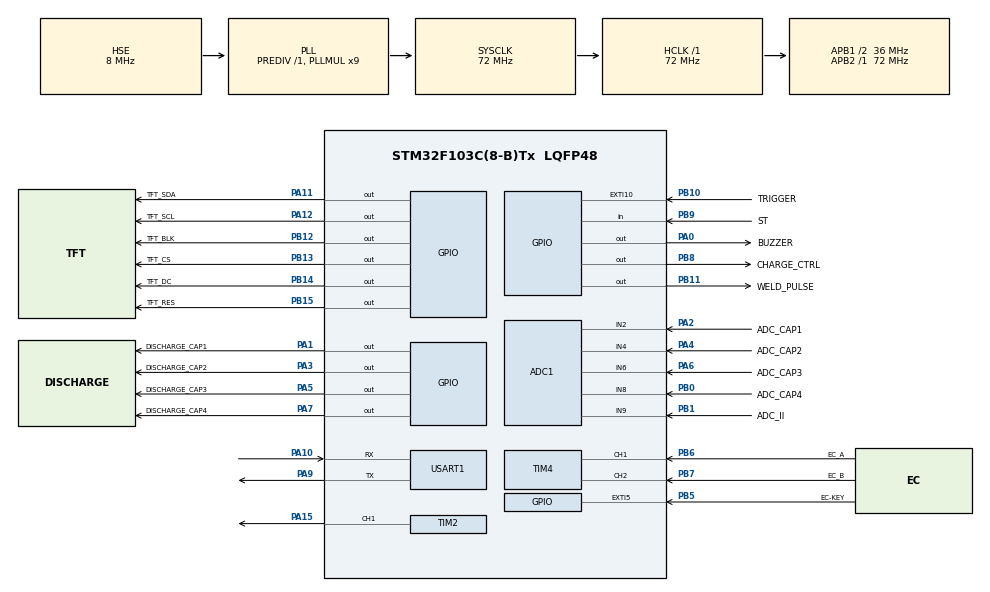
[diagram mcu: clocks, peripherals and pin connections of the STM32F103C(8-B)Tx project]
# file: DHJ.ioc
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ADC1.Channel-5\#ChannelRegularConversion=ADC_CHANNEL_2
ADC1.Channel-6\#ChannelRegularConversion=ADC_CHANNEL_4
ADC1.Channel-7\#ChannelRegularConversion=ADC_CHANNEL_6
ADC1.Channel-8\#ChannelRegularConversion=ADC_CHANNEL_8
ADC1.Channel-9\#ChannelRegularConversion=ADC_CHANNEL_9
ADC1.ContinuousConvMode=ENABLE
ADC1.NbrOfConversion=5
ADC1.NbrOfConversionFlag=1
ADC1.Rank-5\#ChannelRegularConversion=1
ADC1.Rank-6\#ChannelRegularConversion=2
ADC1.Rank-7\#ChannelRegularConversion=3
ADC1.Rank-8\#ChannelRegularConversion=4
ADC1.Rank-9\#ChannelRegularConversion=5
ADC1.SamplingTime-5\#ChannelRegularConversion=ADC_SAMPLETIME_239CYCLES_5
ADC1.SamplingTime-6\#ChannelRegularConversion=ADC_SAMPLETIME_239CYCLES_5
ADC1.SamplingTime-7\#ChannelRegularConversion=ADC_SAMPLETIME_239CYCLES_5
ADC1.SamplingTime-8\#ChannelRegularConversion=ADC_SAMPLETIME_239CYCLES_5
ADC1.SamplingTime-9\#ChannelRegularConversion=ADC_SAMPLETIME_239CYCLES_5
ADC1.master=1
Dma.ADC1.0.Direction=DMA_PERIPH_TO_MEMORY
Dma.ADC1.0.Instance=DMA1_Channel1
Dma.ADC1.0.MemDataAlignment=DMA_MDATAALIGN_HALFWORD
Dma.ADC1.0.MemInc=DMA_MINC_ENABLE
Dma.ADC1.0.Mode=DMA_CIRCULAR
Dma.ADC1.0.PeriphDataAlignment=DMA_PDATAALIGN_HALFWORD
Dma.ADC1.0.PeriphInc=DMA_PINC_DISABLE
Dma.ADC1.0.Priority=DMA_PRIORITY_HIGH
Dma.Request0=ADC1
Mcu.Family=STM32F1
Mcu.Name=STM32F103C(8-B)Tx
Mcu.Package=LQFP48
NVIC.DMA1_Channel1_IRQn=true\:0\:0\:false\:false\:true\:false\:true\:true
NVIC.EXTI15_10_IRQn=true\:0\:0\:false\:false\:true\:true\:true\:true
NVIC.EXTI9_5_IRQn=true\:1\:0\:true\:false\:true\:true\:true\:true
NVIC.PriorityGroup=NVIC_PRIORITYGROUP_4
NVIC.TIM2_IRQn=true\:1\:0\:true\:false\:true\:true\:true\:true
NVIC.TIM4_IRQn=true\:1\:0\:true\:false\:true\:true\:true\:true
PA0-WKUP.GPIO_Label=BUZZER
PA0-WKUP.GPIO_PuPd=GPIO_PULLDOWN
PA0-WKUP.Signal=GPIO_Output
PA1.GPIO_Label=DISCHARGE_CAP1
PA1.GPIO_PuPd=GPIO_PULLDOWN
PA1.Signal=GPIO_Output
PA10.Mode=Asynchronous
PA10.Signal=USART1_RX
PA11.GPIO_Label=TFT_SDA
PA11.Signal=GPIO_Output
PA12.GPIO_Label=TFT_SCL
PA12.Signal=GPIO_Output
PA13.Mode=Serial_Wire
PA13.Signal=SYS_JTMS-SWDIO
PA14.Mode=Serial_Wire
PA14.Signal=SYS_JTCK-SWCLK
PA15.Signal=S_TIM2_CH1_ETR
PA2.GPIO_Label=ADC_CAP1
PA2.Signal=ADCx_IN2
PA3.GPIO_Label=DISCHARGE_CAP2
PA3.GPIO_PuPd=GPIO_PULLDOWN
PA3.Signal=GPIO_Output
PA4.GPIO_Label=ADC_CAP2
PA4.Signal=ADCx_IN4
PA5.GPIO_Label=DISCHARGE_CAP3
PA5.GPIO_PuPd=GPIO_PULLDOWN
PA5.Signal=GPIO_Output
PA6.GPIO_Label=ADC_CAP3
PA6.Signal=ADCx_IN6
PA7.GPIO_Label=DISCHARGE_CAP4
PA7.GPIO_PuPd=GPIO_PULLDOWN
PA7.Signal=GPIO_Output
PA9.Mode=Asynchronous
PA9.Signal=USART1_TX
PB0.GPIO_Label=ADC_CAP4
PB0.Signal=ADCx_IN8
PB1.GPIO_Label=ADC_II
PB1.Signal=ADCx_IN9
PB10.GPIO_Label=TRIGGER
PB10.GPIO_ModeDefaultEXTI=GPIO_MODE_IT_RISING_FALLING
PB10.GPIO_PuPd=GPIO_PULLUP
PB10.Signal=GPXTI10
PB11.GPIO_Label=WELD_PULSE
PB11.GPIO_PuPd=GPIO_PULLDOWN
PB11.GPIO_Speed=GPIO_SPEED_FREQ_HIGH
PB11.Signal=GPIO_Output
PB12.GPIO_Label=TFT_BLK
PB12.Signal=GPIO_Output
PB13.GPIO_Label=TFT_CS
PB13.Signal=GPIO_Output
PB14.GPIO_Label=TFT_DC
PB14.Signal=GPIO_Output
PB15.GPIO_Label=TFT_RES
PB15.Signal=GPIO_Output
PB5.GPIO_Label=EC-KEY
PB5.GPIO_ModeDefaultEXTI=GPIO_MODE_IT_FALLING
PB5.GPIO_PuPd=GPIO_PULLUP
PB5.Signal=GPXTI5
PB6.GPIO_Label=EC_A
PB6.Signal=S_TIM4_CH1
PB7.GPIO_Label=EC_B
PB7.Signal=S_TIM4_CH2
PB8.GPIO_Label=CHARGE_CTRL
PB8.GPIO_PuPd=GPIO_PULLDOWN
PB8.Signal=GPIO_Output
PB9.GPIO_Label=ST
PB9.GPIO_PuPd=GPIO_PULLUP
PB9.Signal=GPIO_Input
PD0-OSC_IN.Mode=HSE-External-Oscillator
PD0-OSC_IN.Signal=RCC_OSC_IN
PD1-OSC_OUT.Mode=HSE-External-Oscillator
PD1-OSC_OUT.Signal=RCC_OSC_OUT
ProjectManager.HeapSize=0x200
ProjectManager.StackSize=0x400
ProjectManager.TargetToolchain=MDK-ARM V5.32
RCC.ADCPresc=RCC_ADCPCLK2_DIV6
RCC.AHBFreq_Value=72000000
RCC.APB1CLKDivider=RCC_HCLK_DIV2
RCC.APB1Freq_Value=36000000
RCC.APB1TimFreq_Value=72000000
RCC.APB2Freq_Value=72000000
RCC.APB2TimFreq_Value=72000000
RCC.HCLKFreq_Value=72000000
RCC.PLLMUL=RCC_PLL_MUL9
RCC.PLLSourceVirtual=RCC_PLLSOURCE_HSE
RCC.SYSCLKFreq_VALUE=72000000
RCC.SYSCLKSource=RCC_SYSCLKSOURCE_PLLCLK
RCC.USBFreq_Value=72000000
SH.ADCx_IN2.0=ADC1_IN2,IN2
SH.ADCx_IN4.0=ADC1_IN4,IN4
SH.ADCx_IN6.0=ADC1_IN6,IN6
SH.ADCx_IN8.0=ADC1_IN8,IN8
SH.ADCx_IN9.0=ADC1_IN9,IN9
SH.S_TIM2_CH1_ETR.0=TIM2_CH1,PWM Generation1 CH1
SH.S_TIM4_CH1.0=TIM4_CH1,Encoder_Interface
SH.S_TIM4_CH2.0=TIM4_CH2,Encoder_Interface
TIM2.AutoReloadPreload=TIM_AUTORELOAD_PRELOAD_DISABLE
TIM2.Channel-PWM\ Generation1\ CH1=TIM_CHANNEL_1
TIM2.Period=999
TIM2.Prescaler=71
TIM4.CounterMode=TIM_COUNTERMODE_UP
TIM4.EncoderMode=TIM_ENCODERMODE_TI1
TIM4.IC1Polarity=TIM_ICPOLARITY_RISING
TIM4.IC1Prescaler=TIM_ICPSC_DIV1
TIM4.IC2Prescaler=TIM_ICPSC_DIV1
USART1.VirtualMode=VM_ASYNC
VP_TIM2_VS_ClockSourceINT.Mode=Internal
board=custom

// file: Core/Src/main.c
/* USER CODE BEGIN Header */
/**
  ******************************************************************************
  * @file           : main.c
  * @brief          : Main program body
  ******************************************************************************
  * @attention
  *
  * Copyright (c) 2025 STMicroelectronics.
  * All rights reserved.
  *
  ******************************************************************************
  */
/* USER CODE END Header */
#include "main.h"
#include "adc.h"
#include "dma.h"
#include "tim.h"
#include "usart.h"
#include "gpio.h"
#include "lcd_init.h"
#include "lcd.h"
#include "flash.h"
#include "encoder.h"
#include "menu.h"
#include <stdio.h>
/* USER CODE BEGIN PTD */
	//电流、电容1-4电压、总电压
	extern float VI,V1,V2,V3,V4,VV;
	//脉冲1、脉冲2、脉冲间隔、触发时间、总点焊次数、开机点焊次数、充电控制电压，均衡控制电压，内阻（电流校准）
	extern 	uint16_t WELD_PULSE1,WELD_PULSE2,PULSE,Waiting_time,Total_times,Times;
	extern	float CCV,BCV,res;
	//临时数组
	uint8_t temp[16];

//	//点焊脉冲控制参数变量
volatile uint8_t pulse_state = 0;
volatile uint32_t pulse_counter = 0;
//TIM_HandleTypeDef htim2;
volatile uint32_t trigger_start_time = 0;  // 触发开始时间戳
volatile uint8_t trigger_active = 0;       // 触发激活标志

	//掉电检测引脚状态
	uint8_t lastSTState = 1; // 默认高电平

/* USER CODE END PTD */

	void SystemClock_Config(void);
	//调用函数
	void MX_GPIO_Init(void);
	void MX_TIM2_Init(void);
	void MX_TIM4_Init(void);
	void MX_ADC1_Init(void);
	void initialize(void);	//初始化功能检查
	void PulseCounts(void);//脉冲计数，电流显示
	void Pulse(void);	//脉冲控制
	void Data_reading(void);	//参数读取
	void Charge_equalization(void);	//充电均衡控制
	void Power_off(void);//掉电保存点焊次数

//主函数
int main(void){

  HAL_Init();
  SystemClock_Config();

  /* Initialize all configured peripherals */
	//初始化
  MX_GPIO_Init();
  MX_DMA_Init();
  MX_ADC1_Init();
  MX_USART1_UART_Init();
	MX_TIM2_Init();
	MX_TIM4_Init();

	// 启动定时器
    HAL_TIM_Base_Start_IT(&htim2);

  /* USER CODE BEGIN 2 */
	Data_reading();	//Flash参数读取
	LCD_Init();	//显示初始化
	initialize();	//初始化功能检查
	ADC_StartSampling();	//ADC开启
	Encoder_Init();	//EC11编码器初始化
	Menu_Init();	//菜单初始化
	Menu_DrawMainScreen();	//绘制页面
	Charge_equalization();	//充电均衡控制
  /* USER CODE END 2 */

  /* Infinite loop */
  /* USER CODE BEGIN WHILE */
  while (1)
  {
		//电压读取
		Averages();
		//充电、均衡控制
		Charge_equalization();
		//脉冲控制
		Pulse();
		//掉电保存点焊次数
		Power_off();

		// 扫描按键
    Encoder_KeyScan();
    // 获取编码器方向和按键状态
    int8_t direction = Encoder_GetDirection();
    uint8_t key_state = Encoder_GetKeyState();
    // 处理菜单输入
    if(direction != 0 || key_state != KEY_NO_PRESS) {
       Menu_ProcessEncoder(direction, key_state);
       }
    else {
			 display_update();
				}

  }
}

//初始化准备
void initialize(void){

	//欢迎屏
	LCD_Fill(0,0,LCD_W,LCD_H,LBBLUE);
	LCD_ShowChinese(30,30,"点焊机",RED ,LBBLUE,32,0);
	LCD_ShowString(20,90,"Design By Panzy",GREEN,LBBLUE,16,0);
	HAL_Delay(1500);

	//端口检测
	BUZZER_1;
  DISCHARGE_CAP1_1;
  DISCHARGE_CAP2_1;
  DISCHARGE_CAP3_1;
  DISCHARGE_CAP4_1;
  WELD_PULSE_1;
  CHARGE_CTRL_1;
	HAL_Delay(100);
	BUZZER_0;
	DISCHARGE_CAP1_0;
	DISCHARGE_CAP2_0;
	DISCHARGE_CAP3_0;
  DISCHARGE_CAP4_0;
  WELD_PULSE_0;
  CHARGE_CTRL_0;

	sprintf((char*)temp,"%d",Total_times);
	LCD_ShowString(60,60,temp,DARKBLUE,Light_pink,16,0);
	sprintf((char*)temp,"%d",Times);
	LCD_ShowString(114,60,temp,DARKBLUE,Light_purple,16,0);
}

//充电均衡控制
void Charge_equalization(void){
			Averages();

			if(V1 >= BCV){
			DISCHARGE_CAP1_1;}
			else {DISCHARGE_CAP1_0;}

			if(V2 >= BCV){
			DISCHARGE_CAP2_1;}
			else {DISCHARGE_CAP2_0;}

			if(V3 >= BCV){
			DISCHARGE_CAP3_1;}
			else {DISCHARGE_CAP3_0;}

			if(V4 >= BCV){
			DISCHARGE_CAP4_1;}
			else {DISCHARGE_CAP4_0;}

			if(V1 >= BCV || V2 >= BCV || V3 >= BCV || V4 >= BCV && VV <= CCV){
			CHARGE_CTRL_1;}
			else {CHARGE_CTRL_0;}

}

//点焊脉冲控制
void Pulse(void) {
				if (trigger_active && (HAL_GetTick() - trigger_start_time) >= (Waiting_time * 1000))
						{
								trigger_active = 0;  // 清除触发标志

        // 检查是否需要输出脉冲
        if (WELD_PULSE1 > 0 || WELD_PULSE2 > 0) {
            Times++;

            // 第一个脉冲
            if (WELD_PULSE1 > 0) {
                BUZZER_1;
                WELD_PULSE_1;
								float VI = Get_ADC(4);
                pulse_state = 1;
                pulse_counter = WELD_PULSE1;
                while (pulse_counter > 0);
                WELD_PULSE_0;
                BUZZER_0;
            }

            // 脉冲间隔
            if (WELD_PULSE2 > 0) {
                HAL_Delay(PULSE);

                // 第二个脉冲
                BUZZER_1;
                WELD_PULSE_1;
								float VI = Get_ADC(4);
                pulse_state = 2;
                pulse_counter = WELD_PULSE2;
                while (pulse_counter > 0);
                WELD_PULSE_0;
                BUZZER_0;
            }

            MenuState state = getCurrentState();
            if(state == MAIN_SCREEN) {
                sprintf((char*)temp,"%d",Total_times + Times);
                LCD_ShowString(60,60,temp,DARKBLUE,Light_pink,16,0);
                sprintf((char*)temp,"%d",Times);
                LCD_ShowString(114,60,temp,DARKBLUE,Light_purple,16,0);

                LCD_Fill(105,86,LCD_W,102,BLACK);
                sprintf((char*)temp,"%.0fA",VI / res * 1000);
                LCD_ShowString(105,86,temp,GREEN,BLACK,16,0);
            }
        }
    }
    HAL_Delay(50);
}

//掉电保存点焊次数
void Power_off(void){
	static uint8_t executed = 0;  // 静态标志变量，初始为0（未执行）
	// 读取触发引脚状态
	uint8_t STState = HAL_GPIO_ReadPin(ST_GPIO_Port, ST_Pin);
	if (!executed && lastSTState == 1 && STState == 0 && (Total_times + Times) > Total_times)
	{
		PulseCount_ErasePage();
		FLASH_ProgramHalfWord(PulseCount_START_ADDR, Total_times + Times);	//总点焊次数
		executed = 1;  // 设置标志为已执行

	}
}

void SystemClock_Config(void)
{
  RCC_OscInitTypeDef RCC_OscInitStruct = {0};
  RCC_ClkInitTypeDef RCC_ClkInitStruct = {0};
  RCC_PeriphCLKInitTypeDef PeriphClkInit = {0};

  /** Initializes the RCC Oscillators according to the specified parameters
  * in the RCC_OscInitTypeDef structure.
  */
  RCC_OscInitStruct.OscillatorType = RCC_OSCILLATORTYPE_HSE;
  RCC_OscInitStruct.HSEState = RCC_HSE_ON;
  RCC_OscInitStruct.HSEPredivValue = RCC_HSE_PREDIV_DIV1;
  RCC_OscInitStruct.HSIState = RCC_HSI_ON;
  RCC_OscInitStruct.PLL.PLLState = RCC_PLL_ON;
  RCC_OscInitStruct.PLL.PLLSource = RCC_PLLSOURCE_HSE;
  RCC_OscInitStruct.PLL.PLLMUL = RCC_PLL_MUL9;
  if (HAL_RCC_OscConfig(&RCC_OscInitStruct) != HAL_OK)
  {
    Error_Handler();
  }

  /** Initializes the CPU, AHB and APB buses clocks
  */
  RCC_ClkInitStruct.ClockType = RCC_CLOCKTYPE_HCLK|RCC_CLOCKTYPE_SYSCLK
                              |RCC_CLOCKTYPE_PCLK1|RCC_CLOCKTYPE_PCLK2;
  RCC_ClkInitStruct.SYSCLKSource = RCC_SYSCLKSOURCE_PLLCLK;
  RCC_ClkInitStruct.AHBCLKDivider = RCC_SYSCLK_DIV1;
  RCC_ClkInitStruct.APB1CLKDivider = RCC_HCLK_DIV2;
  RCC_ClkInitStruct.APB2CLKDivider = RCC_HCLK_DIV1;

  if (HAL_RCC_ClockConfig(&RCC_ClkInitStruct, FLASH_LATENCY_2) != HAL_OK)
  {
    Error_Handler();
  }
  PeriphClkInit.PeriphClockSelection = RCC_PERIPHCLK_ADC;
  PeriphClkInit.AdcClockSelection = RCC_ADCPCLK2_DIV6;
  if (HAL_RCCEx_PeriphCLKConfig(&PeriphClkInit) != HAL_OK)
  {
    Error_Handler();
  }
}

/* USER CODE BEGIN 4 */

// 定时器中断回调函数
void HAL_TIM_PeriodElapsedCallback(TIM_HandleTypeDef *htim) {
    if (htim == &htim2) {
        if (pulse_counter > 0) {
            pulse_counter--;
        }
    }
}

// PB10外部中断回调函数
void HAL_GPIO_EXTI_Callback(uint16_t GPIO_Pin) {
    if (GPIO_Pin == TRIGGER_Pin) {
        if (HAL_GPIO_ReadPin(TRIGGER_GPIO_Port, TRIGGER_Pin) == GPIO_PIN_RESET) {
            trigger_start_time = HAL_GetTick();
            trigger_active = 1;
        }
				else
        {
            // 检测到高电平，取消触发
            trigger_active = 0;
        }
    }
}
/* USER CODE END 4 */

void Error_Handler(void)
{
  __disable_irq();
  while (1)
  {
  }
}
